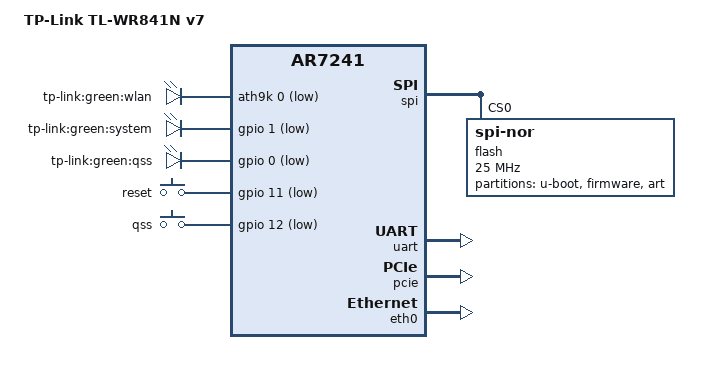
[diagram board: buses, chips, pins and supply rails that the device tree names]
// SPDX-License-Identifier: GPL-2.0-or-later OR MIT

/dts-v1/;

#include "ar7241.dtsi"

#include <dt-bindings/gpio/gpio.h>
#include <dt-bindings/input/input.h>

/ {
	compatible = "tplink,tl-wr841n-v7", "qca,ar7241";
	model = "TP-Link TL-WR841N v7";

	aliases {
		led-boot = &led_system;
		led-failsafe = &led_system;
		led-running = &led_system;
		led-upgrade = &led_system;
	};

	ath9k-leds {
		compatible = "gpio-leds";

		wlan {
			label = "tp-link:green:wlan";
			gpios = <&ath9k 0 GPIO_ACTIVE_LOW>;
			linux,default-trigger = "phy0tpt";
		};
	};

	gpio-leds {
		compatible = "gpio-leds";

		led_system: system {
			label = "tp-link:green:system";
			gpios = <&gpio 1 GPIO_ACTIVE_LOW>;
		};

		qss {
			label = "tp-link:green:qss";
			gpios = <&gpio 0 GPIO_ACTIVE_LOW>;
		};
	};

	keys {
		compatible = "gpio-keys";
		poll-interval = <20>;

		reset {
			label = "reset";
			gpios = <&gpio 11 GPIO_ACTIVE_LOW>;
			linux,code = <KEY_RESTART>;
		};

		qss {
			label = "qss";
			gpios = <&gpio 12 GPIO_ACTIVE_LOW>;
			linux,code = <KEY_WPS_BUTTON>;
		};
	};
};

&spi {
	status = "okay";
	num-cs = <1>;

	flash@0 {
		compatible = "jedec,spi-nor";
		reg = <0>;
		spi-max-frequency = <25000000>;

		partitions {
			compatible = "fixed-partitions";
			#address-cells = <1>;
			#size-cells = <1>;

			uboot: partition@0 {
				label = "u-boot";
				reg = <0x0 0x20000>;
				read-only;
			};

			partition@20000 {
				compatible = "tplink,firmware";
				label = "firmware";
				reg = <0x20000 0x3d0000>;
			};

			partition@3f0000 {
				label = "art";
				reg = <0x3f0000 0x10000>;
				read-only;
			};
		};
	};
};

&uart {
	status = "okay";
};

&pcie {
	status = "okay";

	ath9k: wifi@0,0 {
		reg = <0x0000 0 0 0 0>;
		#gpio-cells = <2>;
		gpio-controller;
		qca,no-eeprom;
		mtd-mac-address = <&uboot 0x1fc00>;
	};
};

&eth0 {
	status = "okay";

	mtd-mac-address = <&uboot 0x1fc00>;
};

&eth1 {
	mtd-mac-address = <&uboot 0x1fc00>;
	mtd-mac-address-increment = <1>;
};
